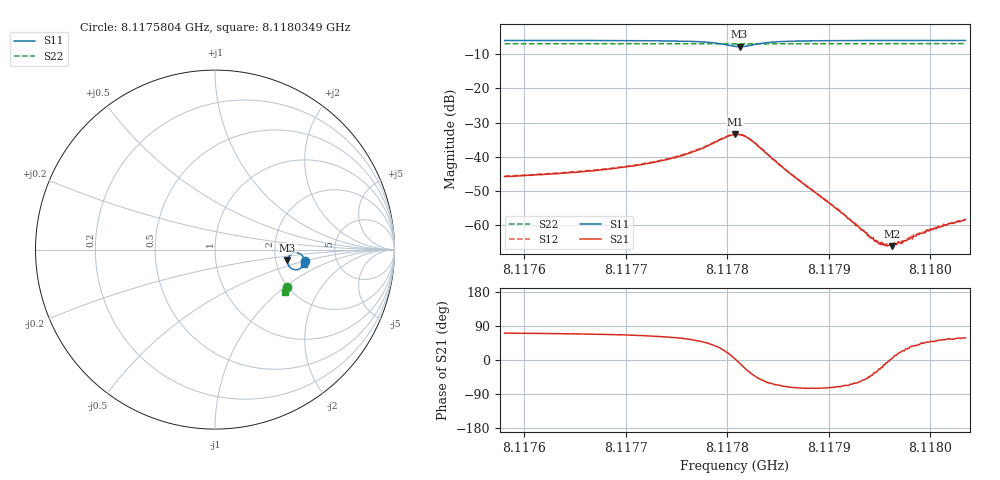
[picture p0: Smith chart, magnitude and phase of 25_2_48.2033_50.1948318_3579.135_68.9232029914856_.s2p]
#  HZ  S  RI  R  50.00
! Rohde & Schwarz Vector Network Analyzer
! Rohde-Schwarz,ZNB20-2Port,1311601062101988,3.16
! Created: UTC 3/20/2024, 11:37:07 AM
! freq[Hz]  re:S11  im:S11  re:S21  im:S21  re:S12  im:S12  re:S22  im:S22
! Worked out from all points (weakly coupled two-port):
!   401 points, 8.1175804 GHz to 8.1180349 GHz, reference 50 ohm
!   highest |S21| = -33.44 dB at 8.1178076 GHz (marker M1); lowest = -66.2 dB at 8.1179622 GHz (marker M2)
!   lowest |S11| = -7.8 dB at 8.1178122 GHz (marker M3), VSWR 2.38, Z = 116 - j16.6 ohm
!   |S11| at or under -10 dB: nowhere
!   |S22| runs from -7.0 to -6.9 dB; largest |S21 - S12| = 0.00067
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8.11758038e9  0.5005 -0.0654  0.00169 0.00485  0.00173 0.0049  0.4021 -0.2072
8.11765651e9  0.4982 -0.0751  0.0022 0.00562  0.00227 0.0057  0.3997 -0.2122
8.11769969e9  0.4952 -0.0828  0.0029 0.00647  0.00302 0.00657  0.3984 -0.215
8.11773265e9  0.4904 -0.0912  0.00401 0.00756  0.00416 0.00768  0.397 -0.2173
8.11776446e9  0.4784 -0.1035  0.00685 0.00933  0.00706 0.0094  0.3953 -0.2197
8.11779287e9  0.4396 -0.1109  0.015 0.00933  0.0156 0.00928  0.3926 -0.2211
8.11780764e9  0.4055 -0.0788  0.0213 0.00104  0.0216 0.000746  0.3913 -0.2201
8.11781219e9  0.4038 -0.0596  0.0209 -0.0031  0.0213 -0.00341  0.3912 -0.2197
8.11781787e9  0.4129 -0.0369  0.0182 -0.00776  0.0184 -0.00805  0.3916 -0.2191
8.11782583e9  0.4367 -0.02  0.0127 -0.0105  0.0128 -0.0108  0.3927 -0.2191
8.11785878e9  0.4886 -0.0366  0.00206 -0.00585  0.00204 -0.00593  0.3937 -0.2225
8.11788378e9  0.4961 -0.0502  0.000864 -0.00309  0.000843 -0.00316  0.3931 -0.2245
8.11791105e9  0.4985 -0.0595  0.000517 -0.0015  0.000522 -0.00155  0.3924 -0.2268
8.1179406e9  0.499 -0.0665  0.000469 -0.00047  0.000505 -0.000504  0.3913 -0.2286
8.11794741e9  0.4991 -0.0677  0.000496 -0.000299  0.000495 -0.00032  0.391 -0.2291
8.11795196e9  0.4991 -0.0686  0.000485 -0.00017  0.000518 -0.000212  0.3909 -0.2295
8.11795991e9  0.4991 -0.07  0.000508 -2.43e-05  0.000505 -2.86e-05  0.3907 -0.23
8.11796219e9  0.4992 -0.0704  0.000491 2.79e-05  0.000525 1.62e-05  0.3906 -0.2303
8.11797355e9  0.499 -0.0721  0.00052 0.000242  0.000522 0.000232  0.3901 -0.231
8.11798605e9  0.4989 -0.0741  0.000538 0.000438  0.000561 0.000451  0.3899 -0.2317
8.11799855e9  0.4989 -0.0759  0.00056 0.000596  0.000592 0.000595  0.3895 -0.2327
8.11803491e9  0.4983 -0.0802  0.000629 0.00102  0.000663 0.00104  0.3881 -0.2349
